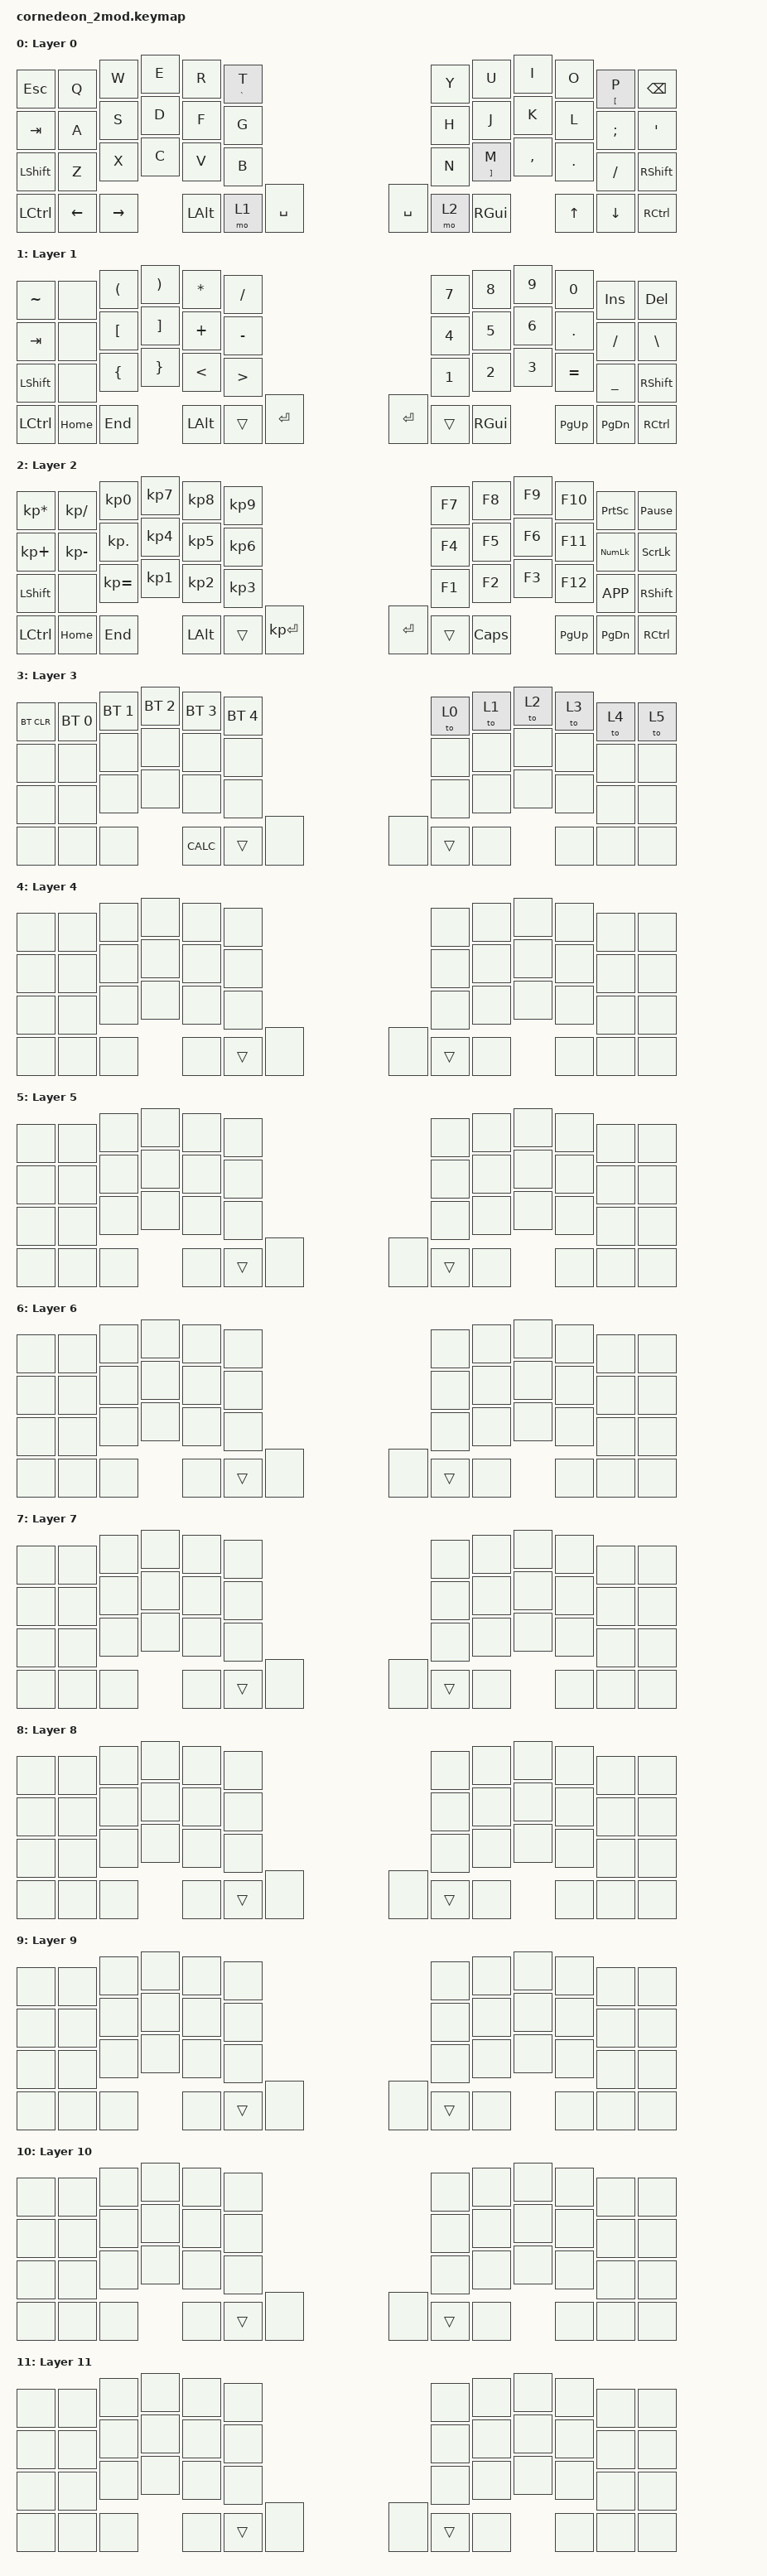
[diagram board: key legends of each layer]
/*
 * Copyright (c) 2020 The ZMK Contributors
 *
 * SPDX-License-Identifier: MIT
 */

#include <dt-bindings/zmk/matrix_transform.h>
#include <behaviors.dtsi>
#include <dt-bindings/zmk/bt.h>
#include <dt-bindings/zmk/keys.h>

/ {
    keymap {
        compatible = "zmk,keymap";

        layer_0 {
            display-name = "Layer 0";

            // ----------------------------------------------------------------------------------------
            // |  ESC  |  Q   |   W   |   E  |   R   |  T  |   |  Y  |   U   |  I  |  O  |  P   | BSPC  |
            // |  TAB  |  A   |   S   |   D  |   F   |  G  |   |  H  |   J   |  K  |  L  |  ;   |   '   |
            // | SHIFT |  Z   |   X   |   C  |   V   |  B  |   |  N  |   M   |  ,  |  .  |  /   | SHIFT |
            // | CTRL  | LEFT | RIGHT | LALT | MO(1) | SPC |   | SPC | MO(2) | GUI | UP  | DOWN | CTRL  |
            // |  J_L  |  J_U |  J_D  |  J_R |  J_B  |     |   |     |       |     |     |      |       |

            bindings = <
&kp ESC  &kp Q  &kp W  &kp E  &kp R  &mt GRAVE T      &kp Y  &kp U  &kp I  &kp O  &mt LBKT P  &kp BSPC
&kp TAB  &kp A  &kp S  &kp D  &kp F  &kp G            &kp H  &kp J  &kp K  &kp L  &kp SEMI  &kp SQT
&kp LSHFT  &kp Z  &kp X  &kp C  &kp V  &kp B          &kp N  &mt RBKT M  &kp COMMA  &kp DOT  &kp FSLH  &kp RSHFT
&kp LCTRL  &kp LEFT  &kp RIGHT  &kp LALT  &mo 1  &kp SPACE    &kp SPACE  &mo 2  &kp RGUI  &kp UP  &kp DOWN  &kp RCTRL
            >;
        };

        layer_1 {
            display-name = "Layer 1";

            // -------------------------------------------------------------------------------------
            // |   ~   |      |  (  |  )  |  *  |  /  |      |  7  |  8  |  9  |  0  | INS |  DEL  |
            // |  TAB  |      |  [  |  ]  |  +  |  -  |      |  4  |  5  |  6  |  .  |  /  |   \   |
            // | SHIFT |      |  {  |  }  |  <  |  >  |      |  1  |  2  |  3  |  =  |  _  | SHIFT |
            // | CTRL  | HOME | END | ALT |     | RET |      | RET |     | GUI | PUP | PDN | CTRL  |
            // |  J_L  |  J_U |  J_D  |  J_R |  J_B  |     |   |     |       |     |     |      |       |

            bindings = <
&kp TILDE  &none  &kp LPAR  &kp RPAR  &kp STAR  &kp FSLH     &kp N7  &kp N8  &kp N9  &kp N0  &kp INS  &kp DEL
&kp TAB  &none  &kp LBKT  &kp RBKT  &kp PLUS  &kp MINUS      &kp N4  &kp N5  &kp N6  &kp DOT  &kp FSLH  &kp BSLH
&kp LSHFT  &none  &kp LBRC  &kp RBRC  &kp LT  &kp GT         &kp N1  &kp N2  &kp N3  &kp EQUAL  &kp UNDER  &kp RSHFT
&kp LCTRL  &kp HOME  &kp END  &kp LALT  &trans  &kp RET      &kp RET &trans  &kp RGUI  &kp PG_UP  &kp PG_DN  &kp RCTL
            >;
        };

        layer_2 {
            display-name = "Layer 2";

            // ------------------------------------------------------------------------------------------
            // |   *   |  /   |  0  |  7  |  8  |  9  |      |  F7 |  F8  |  F9 |  F10 |  PSCRN | PAUSE |
            // |   +   |  -   |  .  |  4  |  5  |  6  |      |  F4 |  F5  |  F6 |  F11 |  NUMLK | SCRLK |
            // | SHIFT |      |  =  |  1  |  2  |  3  |      |  F1 |  F2  |  F3 |  F12 |   MENU | SHIFT |
            // | CTRL  | HOME | END | ALT |     | RET |      | RET |      | CAPS|  PUP |   PDN  |  CTRL |
            // |  J_L  |  J_U |  J_D  |  J_R |  J_B  |     |   |     |       |     |     |      |       |

            bindings = <
&kp KP_ASTERISK  &kp KP_SLASH  &kp KP_N0  &kp KP_N7  &kp KP_N8  &kp KP_N9    &kp F7  &kp F8  &kp F9  &kp F10  &kp PSCRN  &kp PAUSE_BREAK
&kp KP_PLUS  &kp KP_MINUS  &kp KP_DOT  &kp KP_N4  &kp KP_N5  &kp KP_N6       &kp F4  &kp F5  &kp F6  &kp F11  &kp KP_NUM  &kp SLCK
&kp LSHFT  &none  &kp KP_EQUAL  &kp KP_N1  &kp KP_N2  &kp KP_N3              &kp F1  &kp F2  &kp F3  &kp F12  &kp K_APP  &kp RSHFT
&kp LCTRL  &kp HOME  &kp END  &kp LALT  &trans  &kp KP_ENTER                 &kp RET  &trans  &kp CAPS  &kp PG_UP  &kp PG_DN  &kp RCTRL
            >;
        };

        layer_3 {
            display-name = "Layer 3";

            // -----------------------------------------------------------------------------------
            // | BTCLR | BT0 | BT1 | BT2  | BT3 | BT4 |      |     |     |     |     |     |     |
            // |       |     |     |      |     |     |      |     |     |     |     |     |     |
            // |       |     |     |      |     |     |      |     |     |     |     |     |     |
            // |       |     |     | CALC |     |     |      |     |     |     |     |     |     |
            // |       |     |     |      |     |     |      |     |     |     |     |     |     |

            bindings = <
&bt BT_CLR  &bt BT_SEL 0  &bt BT_SEL 1  &bt BT_SEL 2  &bt BT_SEL 3  &bt BT_SEL 4    &to 0  &to 1  &to 2  &to 3  &to 4  &to 5
&none  &none  &none  &none  &none  &none                                            &none  &none  &none  &none  &none  &none
&none  &none  &none  &none  &none  &none                                            &none  &none  &none  &none  &none  &none
&none  &none  &none  &kp K_CALC  &trans  &none                                      &none  &trans  &none  &none  &none  &none
            >;
        };

        layer_4 {
            display-name = "Layer 4";

            // -----------------------------------------------------------------------------------
            // |     |     |     |     |     |     |         |     |     |     |     |     |     |
            // |     |     |     |     |     |     |         |     |     |     |     |     |     |
            // |     |     |     |     |     |     |         |     |     |     |     |     |     |
            // |     |     |     |     |     |     |         |     |     |     |     |     |     |
            // |     |     |     |     |     |     |         |     |     |     |     |     |     |
            // |     |     |     |     |     |     |         |     |     |     |     |     |     |

            bindings = <
&none  &none  &none  &none  &none  &none    &none  &none  &none  &none  &none  &none
&none  &none  &none  &none  &none  &none    &none  &none  &none  &none  &none  &none
&none  &none  &none  &none  &none  &none    &none  &none  &none  &none  &none  &none
&none  &none  &none  &none  &trans &none    &none  &trans  &none  &none  &none  &none
            >;
        };

        layer_5 {
            display-name = "Layer 5";

            // -----------------------------------------------------------------------------------
            // |     |     |     |     |     |     |         |     |     |     |     |     |     |
            // |     |     |     |     |     |     |         |     |     |     |     |     |     |
            // |     |     |     |     |     |     |         |     |     |     |     |     |     |
            // |     |     |     |     |     |     |         |     |     |     |     |     |     |
            // |     |     |     |     |     |     |         |     |     |     |     |     |     |
            // |     |     |     |     |     |     |         |     |     |     |     |     |     |

            bindings = <
&none  &none  &none  &none  &none  &none    &none  &none  &none  &none  &none  &none
&none  &none  &none  &none  &none  &none    &none  &none  &none  &none  &none  &none
&none  &none  &none  &none  &none  &none    &none  &none  &none  &none  &none  &none
&none  &none  &none  &none  &trans &none    &none  &trans &none  &none  &none  &none
            >;
        };

        layer_6 {
            display-name = "Layer 6";

            // -----------------------------------------------------------------------------------
            // |     |     |     |     |     |     |         |     |     |     |     |     |     |
            // |     |     |     |     |     |     |         |     |     |     |     |     |     |
            // |     |     |     |     |     |     |         |     |     |     |     |     |     |
            // |     |     |     |     |     |     |         |     |     |     |     |     |     |
            // |     |     |     |     |     |     |         |     |     |     |     |     |     |
            // |     |     |     |     |     |     |         |     |     |     |     |     |     |

            bindings = <
&none  &none  &none  &none  &none  &none    &none  &none  &none  &none  &none  &none
&none  &none  &none  &none  &none  &none    &none  &none  &none  &none  &none  &none
&none  &none  &none  &none  &none  &none    &none  &none  &none  &none  &none  &none
&none  &none  &none  &none  &trans &none    &none  &trans &none  &none  &none  &none
            >;
        };
        
        layer_7 {
            display-name = "Layer 7";

            // -----------------------------------------------------------------------------------
            // |     |     |     |     |     |     |         |     |     |     |     |     |     |
            // |     |     |     |     |     |     |         |     |     |     |     |     |     |
            // |     |     |     |     |     |     |         |     |     |     |     |     |     |
            // |     |     |     |     |     |     |         |     |     |     |     |     |     |
            // |     |     |     |     |     |     |         |     |     |     |     |     |     |
            // |     |     |     |     |     |     |         |     |     |     |     |     |     |

            bindings = <
&none  &none  &none  &none  &none  &none    &none  &none  &none  &none  &none  &none
&none  &none  &none  &none  &none  &none    &none  &none  &none  &none  &none  &none
&none  &none  &none  &none  &none  &none    &none  &none  &none  &none  &none  &none
&none  &none  &none  &none  &trans &none    &none  &trans &none  &none  &none  &none
            >;
        };

        layer_8 {
            display-name = "Layer 8";

            // -----------------------------------------------------------------------------------
            // |     |     |     |     |     |     |         |     |     |     |     |     |     |
            // |     |     |     |     |     |     |         |     |     |     |     |     |     |
            // |     |     |     |     |     |     |         |     |     |     |     |     |     |
            // |     |     |     |     |     |     |         |     |     |     |     |     |     |
            // |     |     |     |     |     |     |         |     |     |     |     |     |     |
            // |     |     |     |     |     |     |         |     |     |     |     |     |     |

            bindings = <
&none  &none  &none  &none  &none  &none    &none  &none  &none  &none  &none  &none
&none  &none  &none  &none  &none  &none    &none  &none  &none  &none  &none  &none
&none  &none  &none  &none  &none  &none    &none  &none  &none  &none  &none  &none
&none  &none  &none  &none  &trans &none    &none  &trans &none  &none  &none  &none
            >;
        };

        layer_9 {
            display-name = "Layer 9";

            // -----------------------------------------------------------------------------------
            // |     |     |     |     |     |     |         |     |     |     |     |     |     |
            // |     |     |     |     |     |     |         |     |     |     |     |     |     |
            // |     |     |     |     |     |     |         |     |     |     |     |     |     |
            // |     |     |     |     |     |     |         |     |     |     |     |     |     |
            // |     |     |     |     |     |     |         |     |     |     |     |     |     |
            // |     |     |     |     |     |     |         |     |     |     |     |     |     |

            bindings = <
&none  &none  &none  &none  &none  &none    &none  &none  &none  &none  &none  &none
&none  &none  &none  &none  &none  &none    &none  &none  &none  &none  &none  &none
&none  &none  &none  &none  &none  &none    &none  &none  &none  &none  &none  &none
&none  &none  &none  &none  &trans &none    &none  &trans &none  &none  &none  &none
            >;
        };

        layer_10 {
            display-name = "Layer 10";

            // -----------------------------------------------------------------------------------
            // |     |     |     |     |     |     |         |     |     |     |     |     |     |
            // |     |     |     |     |     |     |         |     |     |     |     |     |     |
            // |     |     |     |     |     |     |         |     |     |     |     |     |     |
            // |     |     |     |     |     |     |         |     |     |     |     |     |     |
            // |     |     |     |     |     |     |         |     |     |     |     |     |     |
            // |     |     |     |     |     |     |         |     |     |     |     |     |     |

            bindings = <
&none  &none  &none  &none  &none  &none    &none  &none  &none  &none  &none  &none
&none  &none  &none  &none  &none  &none    &none  &none  &none  &none  &none  &none
&none  &none  &none  &none  &none  &none    &none  &none  &none  &none  &none  &none
&none  &none  &none  &none  &trans &none    &none  &trans &none  &none  &none  &none
            >;
        };

        layer_11 {
            display-name = "Layer 11";

            // -----------------------------------------------------------------------------------
            // |     |     |     |     |     |     |         |     |     |     |     |     |     |
            // |     |     |     |     |     |     |         |     |     |     |     |     |     |
            // |     |     |     |     |     |     |         |     |     |     |     |     |     |
            // |     |     |     |     |     |     |         |     |     |     |     |     |     |
            // |     |     |     |     |     |     |         |     |     |     |     |     |     |
            // |     |     |     |     |     |     |         |     |     |     |     |     |     |

            bindings = <
&none  &none  &none  &none  &none  &none    &none  &none  &none  &none  &none  &none
&none  &none  &none  &none  &none  &none    &none  &none  &none  &none  &none  &none
&none  &none  &none  &none  &none  &none    &none  &none  &none  &none  &none  &none
&none  &none  &none  &none  &trans &none    &none  &trans &none  &none  &none  &none
            >;
        };

    };

    conditional_layers {
        compatible = "zmk,conditional-layers";

        layer_3 {
            if-layers = <1 2>;
            then-layer = <3>;
        };
    };

    combos {
        compatible = "zmk,combos";

        combo_bt_clr_left {
            timeout-ms = <50>;
            layers = <1>;
            key-positions = <0 1 2 3>;
            bindings = <&bt BT_CLR>;
        };

        combo_bt_clr_right {
            timeout-ms = <50>;
            layers = <2>;
            key-positions = <11 10 9 8>;
            bindings = <&bt BT_CLR>;
        };
    };
};
